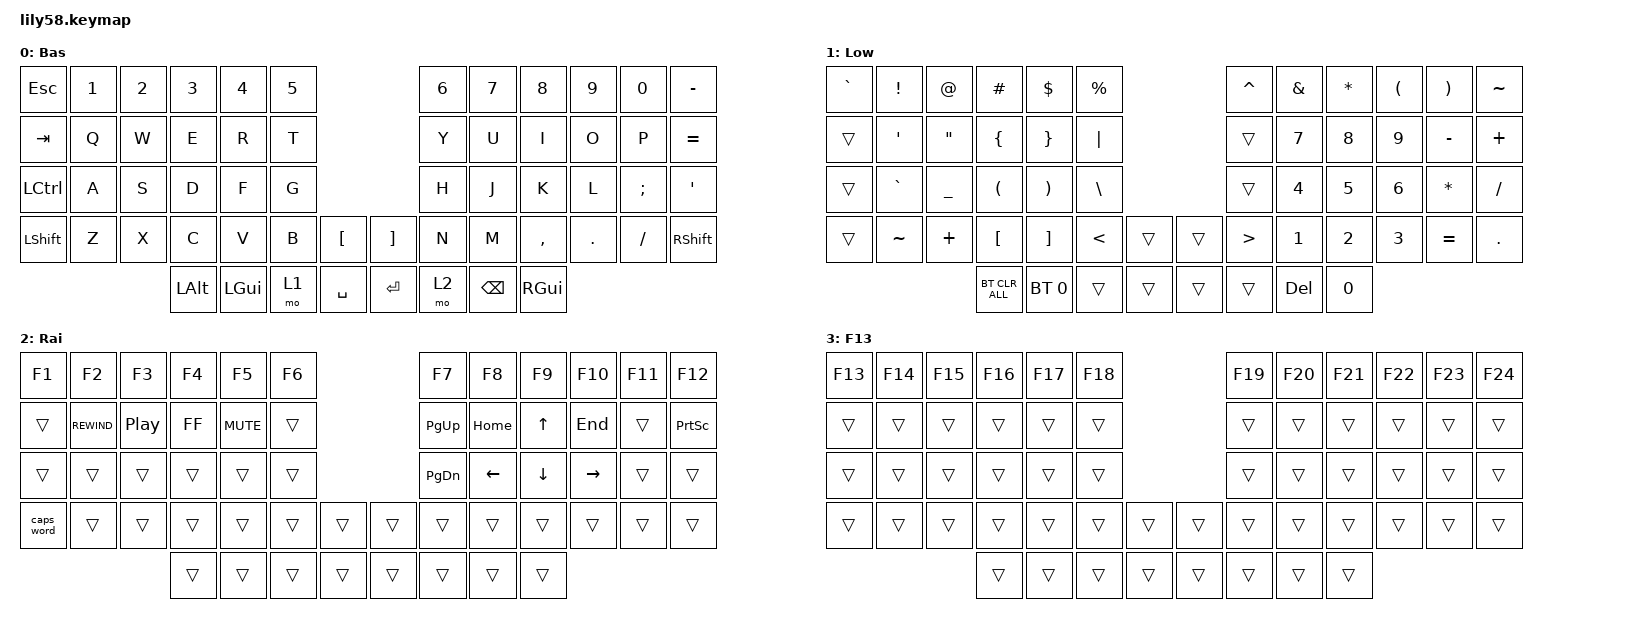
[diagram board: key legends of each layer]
/*
 * Copyright (c) 2020 The ZMK Contributors
 *
 * SPDX-License-Identifier: MIT
 */

#include <behaviors.dtsi>
#include <dt-bindings/zmk/bt.h>
#include <dt-bindings/zmk/keys.h>

/ {
    behaviors {
        // Caps Word: Activate with CAPS, auto-disable on non-letter keys
        caps_word: caps_word {
            compatible = "zmk,behavior-caps-word";
            #binding-cells = <0>;
            continue-list;
        };
    };

    combos {
        compatible = "zmk,combos";

        // Tab + Raise combo to access F13-F24 layer (extra_1, layer 3)
        f13_layer_combo {
            bindings = <&mo 3>;
            key-positions = <12 55>;  // Tab (position 12) + Raise thumb key (position 55)
            timeout-ms = <50>;
        };
    };

    keymap {
        compatible = "zmk,keymap";

        default_layer {
            // ------------------------------------------------------------------------------------------------------------
            // |  ESC  |  1   |  2   |  3   |  4   |  5   |               |  6   |  7   |  8   |  9   |  0   |  -   |
            // |  TAB  |  Q   |  W   |  E   |  R   |  T   |               |  Y   |  U   |  I   |  O   |  P   |  =   |
            // |  CTRL |  A   |  S   |  D   |  F   |  G   |               |  H   |  J   |  K   |  L   |  ;   |  '   |
            // | SHIFT |  Z   |  X   |  C   |  V   |  B   |  [   |   ]   |  N   |  M   |  ,   |  .   |  /   | SHIFT |
            //                        | ALT | GUI  |LOWER | SPACE| |ENTER |RAISE | BSPC | GUI  |

            display-name = "Bas";
            bindings = <
&kp ESC      &kp N1  &kp N2  &kp N3    &kp N4    &kp N5                         &kp N6  &kp N7    &kp N8     &kp N9   &kp N0    &kp MINUS
&kp TAB      &kp Q   &kp W   &kp E     &kp R     &kp T                          &kp Y   &kp U     &kp I      &kp O    &kp P     &kp EQUAL
&kp LCTRL    &kp A   &kp S   &kp D     &kp F     &kp G                          &kp H   &kp J     &kp K      &kp L    &kp SEMI  &kp SQT
&kp LSHIFT   &kp Z   &kp X   &kp C     &kp V     &kp B   &kp LBKT     &kp RBKT  &kp N   &kp M     &kp COMMA  &kp DOT  &kp FSLH  &kp RSHFT
                             &kp LALT  &kp LGUI  &mo 1   &kp SPACE    &kp RET   &mo 2   &kp BSPC  &kp RGUI
            >;
        };

        lower_layer {
            // Lower Layer - Symbols (Left) & Numpad (Right)
            // ------------------------------------------------------------------------------------------------------------
            // |  `   |  !   |  @   |  #   |  $   |  %   |        |  ^   |  &   |  *   |  (   |  )   |  ~   |
            // |      |  '   |  "   |  {   |  }   |  |   |        |      |  7   |  8   |  9   |  -   |  +   |
            // |      |  `   |  _   |  (   |  )   |  \   |        |      |  4   |  5   |  6   |  *   |  /   |
            // |      |  ~   |  +   |  [   |  ]   |  <   |        |      |  >   |  1   |  2   |  3   |  =   |  .   |
            //                      |BT_CLR_ALL| BT1  |      |        |  0   | DEL  |      |

            display-name = "Low";
            bindings = <
&kp GRAVE  &kp EXCL   &kp AT     &kp HASH    &kp DLLR      &kp PRCNT                    &kp CARET  &kp AMPS  &kp ASTRK  &kp LPAR  &kp RPAR   &kp TILDE
&trans     &kp SQT    &kp DQT    &kp LBRC    &kp RBRC      &kp PIPE                     &trans     &kp N7    &kp N8     &kp N9    &kp MINUS  &kp PLUS
&trans     &kp GRAVE  &kp UNDER  &kp LPAR    &kp RPAR      &kp BSLH                     &trans     &kp N4    &kp N5     &kp N6    &kp ASTRK  &kp FSLH
&trans     &kp TILDE  &kp PLUS   &kp LBKT    &kp RBKT      &kp LT     &trans    &trans  &kp GT     &kp N1    &kp N2     &kp N3    &kp EQUAL  &kp DOT
                                 &bt BT_CLR_ALL  &bt BT_SEL 0  &trans     &trans    &trans  &trans     &kp DEL   &kp N0
            >;
        };

        raise_layer {
            // Raise Layer - Navigation & F-keys, Media on left
            // ------------------------------------------------------------------------------------------------------------
            // |  F1   |  F2  |  F3  |  F4  |  F5  |  F6  |        |  F7  |  F8  |  F9  |  F10 |  F11 |  F12 |
            // |       |C_REWIND| C_PP | C_FF| MUTE |      |        | PgUp | Home |  ↑   | End  |      | PScr |
            // |       |      |      |      |      |      |        | PgDn |  ←   |  ↓   |  →   |      |      |
            // |  CAP  |      |      |      |      |      |        |      |      |      |      |      |      |
            //                       |      |      |      |        |      |      |      |

            display-name = "Rai";
            bindings = <
&kp F1      &kp F2        &kp F3    &kp F4    &kp F5  &kp F6                    &kp F7     &kp F8    &kp F9    &kp F10    &kp F11  &kp F12
&trans  &kp C_REWIND  &kp C_PP  &kp C_FF  &kp C_MUTE  &trans                    &kp PG_UP  &kp HOME  &kp UP    &kp END    &trans   &kp PSCRN
&trans      &trans        &trans    &trans    &trans  &trans                    &kp PG_DN  &kp LEFT  &kp DOWN  &kp RIGHT  &trans   &trans
&caps_word      &trans        &trans    &trans    &trans  &trans  &trans    &trans  &trans     &trans    &trans    &trans     &trans   &trans
                                    &trans    &trans  &trans  &trans    &trans  &trans     &trans    &trans
            >;
        };

        extra_1 {
            // Extra 1 Layer - F13-F24
            // ------------------------------------------------------------------------------------------------------------
            // | F13 | F14 | F15 | F16 | F17 | F18 |        | F19 | F20 | F21 | F22 | F23 | F24 |
            // |     |     |     |     |     |     |        |     |     |     |     |     |     |
            // |     |     |     |     |     |     |        |     |     |     |     |     |     |
            // |     |     |     |     |     |     |        |     |     |     |     |     |     |
            //                   |     |     |     |        |     |     |     |

            display-name = "F13";
            bindings = <
&kp F13  &kp F14  &kp F15  &kp F16  &kp F17  &kp F18                    &kp F19  &kp F20  &kp F21  &kp F22  &kp F23  &kp F24
&trans   &trans   &trans   &trans   &trans   &trans                     &trans   &trans   &trans   &trans   &trans   &trans
&trans   &trans   &trans   &trans   &trans   &trans                     &trans   &trans   &trans   &trans   &trans   &trans
&trans   &trans   &trans   &trans   &trans   &trans   &trans    &trans  &trans   &trans   &trans   &trans   &trans   &trans
                           &trans   &trans   &trans   &trans    &trans  &trans   &trans   &trans
            >;
        };

        extra_2 { status = "reserved"; };

        extra_3 { status = "reserved"; };
    };
};
